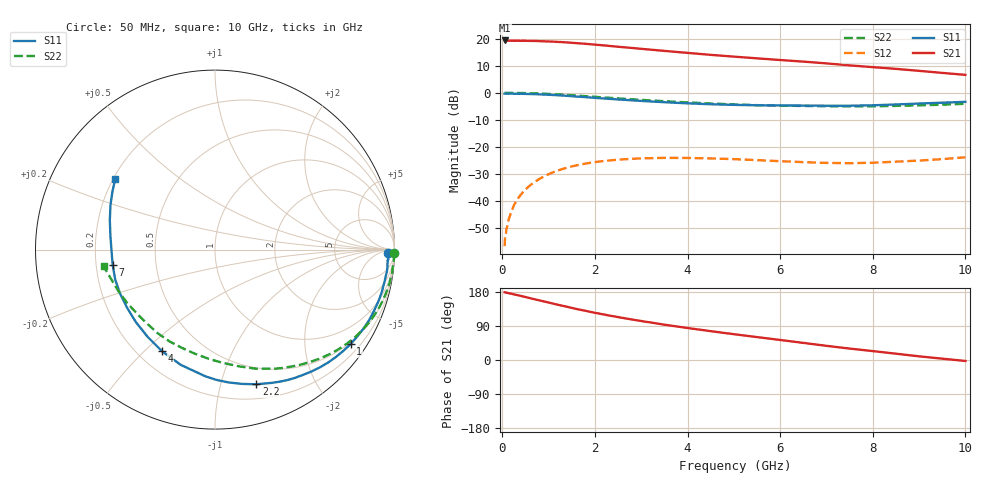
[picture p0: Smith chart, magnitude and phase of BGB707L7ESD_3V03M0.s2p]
! (c) 2009  Infineon Technologies AG, Munich
!  Infineon Technologies AG
!  BGB707L7ESD RU919007 w#7 Sample Build #08493 Teil Nr. 3
!  Vce = 3.0V, Ic = 3.0mA
!  DATUM: 30.06.2009 10:17:55
# GHz  S  MA  R  50
!f  S11  S21  S12  S22
!GHz  Mag  Ang  Mag  Ang  Mag  Ang  Mag  Ang
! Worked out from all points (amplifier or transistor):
!   52 points, 50 MHz to 10 GHz, reference 50 ohm
!   highest |S21| = 19.4 dB at 60 MHz (marker M1)
!   |S21| within 3 dB of that: start of sweep to 2.935 GHz
!   unconditionally stable (mu >= 1): 6.801 GHz to end of sweep
!   at 130 MHz: K = -0.02, MSG = 33.4 dB, |S12| = -47.5 dB
!   at 1.4 GHz: K = 0.09, MSG = 23.2 dB, |S12| = -27.8 dB
!   at 10 GHz: K = 1.05, MAG = 13.9 dB, |S12| = -23.9 dB
!   lowest NFmin = 0.40 dB at 100 MHz
!   S11 on the Smith chart (normalised r, x): 50 MHz: 41, -26; 1 GHz: 0.45, -3.13; 2.2 GHz: 0.33, -1.30; 4 GHz: 0.30, -0.57; 7 GHz: 0.27, -0.07; 10 GHz: 0.21, +0.30
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0.05  0.966 -1.3  9.192 178.7  0.001433 84.4  0.998 -1.1
0.06  0.9678 -2.4  9.361 178.5  0.002091 83.7  0.9988 -1.4
0.08  0.9639 -2.6  9.208 177.7  0.002472 87.4  0.9989 -1.9
0.09  0.9676 -3.3  9.278 178.1  0.003 87.2  0.9987 -2.1
0.1  0.9624 -3.7  9.227 177.2  0.003177 87.0  0.9983 -2.4
0.2  0.9656 -7.3  9.258 174.8  0.00641 85.8  0.9967 -4.9
0.35  0.9593 -12.4  9.227 170.5  0.01134 81.9  0.9929 -8.6
0.7  0.9444 -24.6  9.17 160.2  0.02233 73.7  0.9767 -17.1
1  0.921 -34.8  8.961 151.6  0.03099 66.8  0.9536 -24.2
1.2  0.901 -41.6  8.795 145.8  0.03621 62.3  0.9344 -28.8
1.4  0.879 -48.2  8.595 140.3  0.04097 58.0  0.9134 -33.4
1.8  0.8314 -61.0  8.109 129.7  0.04882 49.8  0.867 -41.9
2.2  0.7849 -72.9  7.574 119.9  0.0545 42.6  0.8203 -49.7
2.8  0.7259 -89.4  6.799 106.8  0.05977 33.6  0.7589 -60.3
3.5  0.67 -106.5  5.995 93.3  0.0622 25.4  0.6996 -71.4
4  0.6384 -117.6  5.504 84.4  0.06196 20.9  0.6634 -78.5
4.5  0.6141 -127.7  5.065 76.1  0.06085 17.6  0.6339 -85.7
5.5  0.5874 -146.6  4.359 60.4  0.0565 14.1  0.5912 -100.7
6.5  0.5804 -163.4  3.791 45.1  0.05186 15.9  0.5708 -116.4
7  0.5765 -171.5  3.514 37.4  0.05019 18.6  0.5646 -124.6
8.5  0.6085 164.4  2.781 16.6  0.05289 30.2  0.5727 -148.8
10  0.6806 144.9  2.152 -2.5  0.06378 37.2  0.6272 -171.4
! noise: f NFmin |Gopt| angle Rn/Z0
0.1  0.4  0.63  2  0.21
0.45  0.47  0.63  4  0.21
0.9  0.57  0.65  13  0.2
1.8  0.64  0.51  35  0.2
5  1.07  0.41  77  0.19
10  1.82  0.45  -140  0.13
